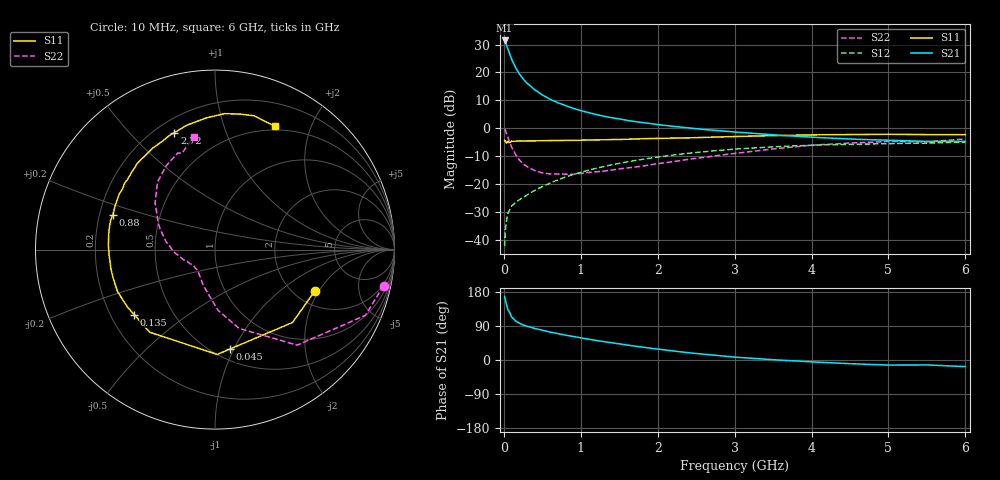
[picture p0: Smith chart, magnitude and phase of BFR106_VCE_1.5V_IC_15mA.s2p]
! Infineon Technologies  Discrete & RF Semiconductors
! BFR106
! VCE =  1.5 V,  IC =  15 mA
! Common Emitter S-Parameters:  Nov 2015
# GHz  S  MA  R  50
!  f  S11  S21  S12  S22
! GHz  MAG  ANG  MAG  ANG  MAG  ANG  MAG  ANG
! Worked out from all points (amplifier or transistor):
!   210 points, 10 MHz to 6 GHz, reference 50 ohm
!   highest |S21| = 31.5 dB at 10 MHz (marker M1)
!   |S21| within 3 dB of that: start of sweep to 51.94 MHz
!   unconditionally stable (mu >= 1): 390.9 MHz to 2.77 GHz; 4.548 GHz to end of sweep
!   at 185 MHz: K = 0.70, MSG = 23.2 dB, |S12| = -26.1 dB
!   at 1.52 GHz: K = 1.09, MAG = 6.1 dB, |S12| = -12.5 dB
!   at 6 GHz: K = 1.02, MAG = -0.8 dB, |S12| = -5.0 dB
!   S11 on the Smith chart (normalised r, x): 10 MHz: 2.57, -1.84; 45 MHz: 0.60, -0.96; 135 MHz: 0.30, -0.32; 880 MHz: 0.25, +0.15; 2.72 GHz: 0.27, +0.68; 6 GHz: 0.45, +1.50
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0.01  0.6023 -22.3  37.54 167.7  0.0076 82.2  0.9604 -12.1
0.02  0.5928 -43.2  35.66 157.5  0.0148 72.6  0.9147 -23.6
0.045  0.5604 -81.6  28.03 138.5  0.0265 57.3  0.7256 -44.1
0.05  0.5842 -88.8  26.99 133.6  0.0289 55.7  0.7023 -49.3
0.1  0.5866 -128.3  17.38 113.6  0.0398 46.5  0.4592 -73.0
0.135  0.5781 -141.2  13.77 107.1  0.0441 46.5  0.3726 -81.9
0.15  0.5835 -146.7  12.29 103.2  0.0459 46.5  0.3392 -87.0
0.2  0.5913 -156.7  9.502 97.0  0.0515 48.8  0.271 -95.2
0.24  0.5889 -162.9  8.017 93.5  0.0559 50.2  0.2362 -101.4
0.3  0.5896 -169.5  6.433 89.0  0.063 53.3  0.2051 -109.1
0.4  0.5908 -177.2  4.893 83.3  0.076 56.5  0.1732 -119.0
0.5  0.5948 177.5  3.939 78.4  0.089 58.7  0.1568 -126.0
0.6  0.5985 172.2  3.307 73.7  0.1033 59.9  0.151 -131.2
0.88  0.6017 161.4  2.32 62.8  0.1439 60.4  0.1485 -144.1
1.02  0.6081 155.8  2.03 57.8  0.1641 59.8  0.1548 -148.0
1.4  0.6253 143.7  1.541 45.5  0.2193 56.1  0.177 -159.6
2.02  0.6524 126.6  1.15 28.3  0.3053 47.9  0.2325 -178.1
2.72  0.6903 109.1  0.917 13.0  0.3902 36.9  0.3144 161.7
3.1  0.7136 101.1  0.834 6.3  0.4284 30.6  0.3641 151.5
4.1  0.7605 84.6  0.677 -5.8  0.4986 15.1  0.5027 128.1
5.1  0.7743 72.6  0.6 -13.3  0.5292 2.6  0.5749 110.6
6  0.7659 64.3  0.578 -17.4  0.5633 -6.7  0.6403 100.7
